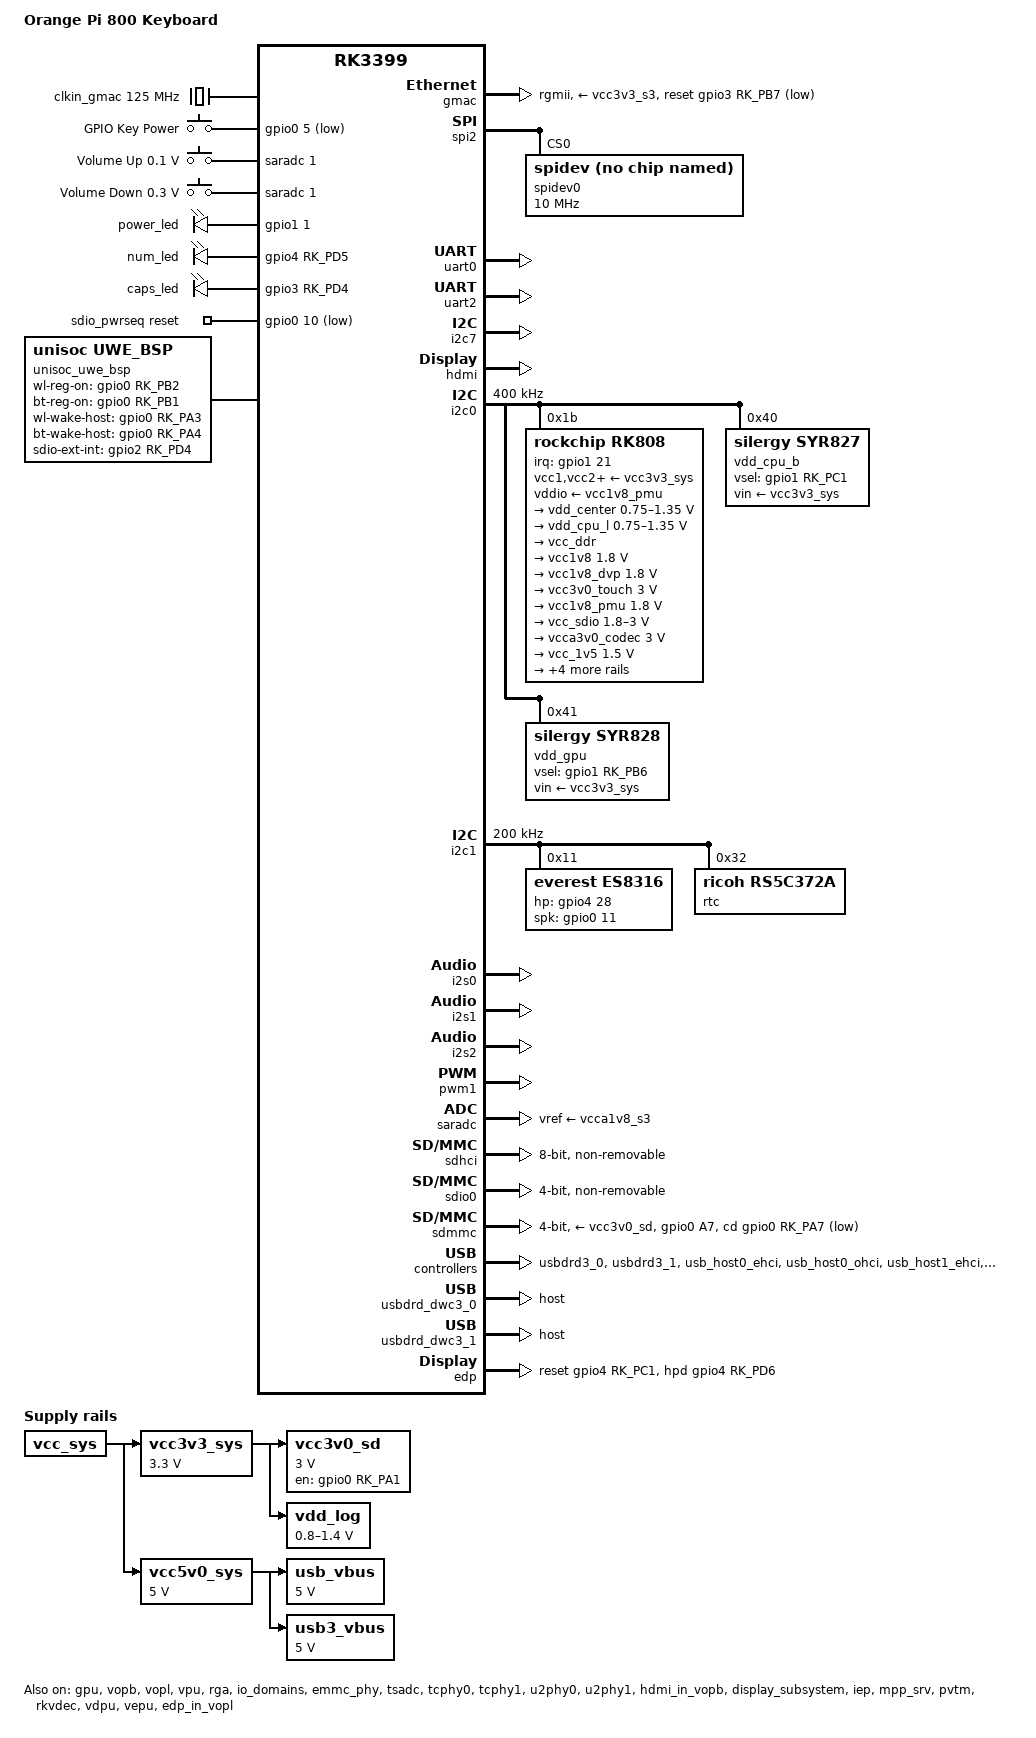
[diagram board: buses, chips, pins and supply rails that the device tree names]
/*
 * SPDX-License-Identifier: (GPL-2.0+ or MIT)
 * Copyright (c) 2017 Fuzhou Rockchip Electronics Co., Ltd.
 * Copyright (c) 2018 Akash Gajjar <Akash_Gajjar@mentor.com>
 * Copyright (c) 2020 Armbian (chwe17, piter75)
 *
 */

/dts-v1/;
#include <dt-bindings/input/linux-event-codes.h>
#include <dt-bindings/pwm/pwm.h>
#include <dt-bindings/usb/pd.h>
//#include <dt-bindings/leds/common.h>
#include "rk3399.dtsi"
#include "rk3399-opp.dtsi"

/ {
	model = "Orange Pi 800 Keyboard";
	compatible = "xunlong,orangepi-800", "rockchip,rk3399";

	chosen {
		stdout-path = "serial2:1500000n8";
	};

	aliases {
		spi2 = &spi2;
	};

	clkin_gmac: external-gmac-clock {
		compatible = "fixed-clock";
		clock-frequency = <125000000>;
		clock-output-names = "clkin_gmac";
		#clock-cells = <0>;
	};

	usb_vbus: usb-vbus {
		compatible = "regulator-fixed";
		regulator-name = "usb_vbus";
		regulator-always-on;
		regulator-boot-on;
		regulator-min-microvolt = <5000000>;
		regulator-max-microvolt = <5000000>;
		vin-supply = <&vcc5v0_sys>;

		regulator-state-mem {
			regulator-on-in-suspend;
		};
	};

	usb3_vbus: usb3-vbus {
		compatible = "regulator-fixed";
		regulator-name = "usb3_vbus";
		regulator-always-on;
		regulator-boot-on;
		regulator-min-microvolt = <5000000>;
		regulator-max-microvolt = <5000000>;
		vin-supply = <&vcc5v0_sys>;

		regulator-state-mem {
			regulator-on-in-suspend;
		};
	};

	vcc3v0_sd: vcc3v0-sd {
		compatible = "regulator-fixed";
		enable-active-high;
		gpio = <&gpio0 RK_PA1 GPIO_ACTIVE_HIGH>;
		pinctrl-names = "default";
		pinctrl-0 = <&sdmmc0_pwr_h>;
		regulator-name = "vcc3v0_sd";
		regulator-always-on;
		regulator-min-microvolt = <3000000>;
		regulator-max-microvolt = <3000000>;
		vin-supply = <&vcc3v3_sys>;

		regulator-state-mem {
			regulator-off-in-suspend;
		};
	};

	vcc3v3_sys: vcc3v3-sys {
		compatible = "regulator-fixed";
		regulator-name = "vcc3v3_sys";
		regulator-always-on;
		regulator-boot-on;
		regulator-min-microvolt = <3300000>;
		regulator-max-microvolt = <3300000>;
		vin-supply = <&vcc_sys>;

		regulator-state-mem {
			regulator-on-in-suspend;
		};
	};

	vcc5v0_sys: vcc5v0-sys {
		compatible = "regulator-fixed";
		regulator-name = "vcc5v0_sys";
		regulator-always-on;
		regulator-boot-on;
		regulator-min-microvolt = <5000000>;
		regulator-max-microvolt = <5000000>;
		vin-supply = <&vcc_sys>;

		regulator-state-mem {
			regulator-on-in-suspend;
		};
	};

	vcc_sys: vcc-sys {
		compatible = "regulator-fixed";
		regulator-name = "vcc_sys";
		regulator-always-on;
		regulator-boot-on;
	};

	vdd_log: vdd-log {
		compatible = "pwm-regulator";
		pwms = <&pwm2 0 25000 1>;
		regulator-name = "vdd_log";
		regulator-min-microvolt = <800000>;
		regulator-max-microvolt = <1400000>;
		regulator-always-on;
		regulator-boot-on;
		vin-supply = <&vcc3v3_sys>;
	};

	/* Audio components */
	es8316-sound {
		compatible = "simple-audio-card";
		//pinctrl-names = "default";
		//pinctrl-0 = <&hp_det_pin>;
		simple-audio-card,name = "rockchip,es8316-codec";
		simple-audio-card,format = "i2s";
		simple-audio-card,mclk-fs = <256>;

		simple-audio-card,widgets =
			"Microphone", "Mic Jack",
			"Headphone", "Headphones";
			//"Speaker", "Speaker";
		simple-audio-card,routing =
			"MIC1", "Mic Jack",
			"Headphones", "HPOL",
			"Headphones", "HPOR";
			//"Speaker Amplifier INL", "HPOL",
			//"Speaker Amplifier INR", "HPOR",
			//"Speaker", "Speaker Amplifier OUTL",
			//"Speaker", "Speaker Amplifier OUTR";

		//simple-audio-card,hp-det-gpio = <&gpio4 RK_PD4 GPIO_ACTIVE_HIGH>;
		//simple-audio-card,aux-devs = <&speaker_amp>;
		//simple-audio-card,pin-switches = "Speaker";

		simple-audio-card,cpu {
		        sound-dai = <&i2s0>;
		};

		simple-audio-card,codec {
		        sound-dai = <&es8316>;
		};
	};

	//speaker_amp: speaker-amplifier {
	//	compatible = "simple-audio-amplifier";
	//	enable-gpios = <&gpio0 RK_PB3 GPIO_ACTIVE_HIGH>;
	//	sound-name-prefix = "Speaker Amplifier";
	//	//VCC-supply = <&pa_5v>;
	//};

	dw_hdmi_audio: dw-hdmi-audio {
		status = "disable";
		compatible = "rockchip,dw-hdmi-audio";
		#sound-dai-cells = <0>;
	};

	hdmi_sound: hdmi-sound {
		status = "okay";
	};

        hdmi_dp_sound: hdmi-dp-sound {
                status = "okay";
                compatible = "rockchip,rk3399-hdmi-dp";
                rockchip,cpu = <&i2s2>;
                rockchip,codec = <&hdmi>, <&cdn_dp>;
        };

	spdif-sound {
		status = "disable";
		compatible = "simple-audio-card";
		simple-audio-card,name = "ROCKCHIP,SPDIF";
		simple-audio-card,cpu {
			sound-dai = <&spdif>;
		};
		simple-audio-card,codec {
			sound-dai = <&spdif_out>;
		};
	};

	spdif_out: spdif-out {
		status = "disable";
		compatible = "linux,spdif-dit";
		#sound-dai-cells = <0>;
	};

	gpio-keys {
		compatible = "gpio-keys";
		#address-cells = <1>;
		#size-cells = <0>;
		autorepeat;

		pinctrl-names = "default";
		pinctrl-0 = <&power_key>;

		button@0 {
			gpios = <&gpio0 5 GPIO_ACTIVE_LOW>;
			linux,code = <KEY_POWER>;
			label = "GPIO Key Power";
			linux,input-type = <1>;
			gpio-key,wakeup = <1>;
			debounce-interval = <100>;
		};
	};

	adc-keys {
		compatible = "adc-keys";
		io-channels = <&saradc 1>;
		io-channel-names = "buttons";
		poll-interval = <100>;
		keyup-threshold-microvolt = <1800000>;

		button-up {
			label = "Volume Up";
			linux,code = <KEY_VOLUMEUP>;
			press-threshold-microvolt = <100000>;
		};

		button-down {
			label = "Volume Down";
			linux,code = <KEY_VOLUMEDOWN>;
			press-threshold-microvolt = <300000>;
		};
	};

	leds: gpio-leds {
		compatible = "gpio-leds";
		pinctrl-names = "default";
		pinctrl-0 =<&leds_gpio>;

		power {
			gpios = <&gpio1 1 GPIO_ACTIVE_HIGH>;
			label = "power_led";
			linux,default-trigger = "none";
			linux,default-trigger-delay-ms = <0>;
			default-state = "on";
		};

		num {
			gpios = <&gpio4 RK_PD5 GPIO_ACTIVE_HIGH>;
			label = "num_led";
			linux,default-trigger = "kbd-numlock";
			linux,default-trigger-delay-ms = <0>;
			default-state = "off";
		};

		caps {
			gpios = <&gpio3 RK_PD4 GPIO_ACTIVE_HIGH>;
			label = "caps_led";
			linux,default-trigger = "kbd-capslock";
			linux,default-trigger-delay-ms = <0>;
			default-state = "off";
		};
	};

	sdio_pwrseq: sdio-pwrseq {
		compatible = "mmc-pwrseq-simple";
		clocks = <&rk808 1>;
		clock-names = "ext_clock";
		pinctrl-names = "default";
		pinctrl-0 = <&wifi_enable_h>;

		/*
		 * On the module itself this is one of these (depending
		 * on the actual card populated):
		 * - SDIO_RESET_L_WL_REG_ON
		 * - PDN (power down when low)
		 */
		reset-gpios = <&gpio0 10 GPIO_ACTIVE_LOW>; /* GPIO0_B2 */
	};

        sprd-wlan {
                compatible = "sprd,uwe5622-wifi";
                status = "okay";
        };

        unisoc_uwe_bsp: uwe-bsp {
                compatible = "unisoc,uwe_bsp";
                wl-reg-on = <&gpio0 RK_PB2 GPIO_ACTIVE_HIGH>;
                bt-reg-on = <&gpio0 RK_PB1 GPIO_ACTIVE_HIGH>;
                wl-wake-host-gpio = <&gpio0 RK_PA3 GPIO_ACTIVE_HIGH>;
                bt-wake-host-gpio = <&gpio0 RK_PA4 GPIO_ACTIVE_HIGH>;
                sdio-ext-int-gpio = <&gpio2 RK_PD4 GPIO_ACTIVE_HIGH>;
                //unisoc,btwf-file-name = "/lib/firmware/uwe5621ds/wcnmodem.bin";
		unisoc,btwf-file-name = "/lib/firmware/wcnmodem.bin";
                //adma-tx;
                //adma-rx;
                data-irq;
                blksz-512;
                keep-power-on;
                status = "okay";
        };

        sprd-mtty {
                compatible = "sprd,mtty";
                sprd,name = "ttyBT";
                status = "okay";
        };
};

&cpu_l0 {
	cpu-supply = <&vdd_cpu_l>;
};

&cpu_l1 {
	cpu-supply = <&vdd_cpu_l>;
};

&cpu_l2 {
	cpu-supply = <&vdd_cpu_l>;
};

&cpu_l3 {
	cpu-supply = <&vdd_cpu_l>;
};

&cpu_b0 {
	cpu-supply = <&vdd_cpu_b>;
};

&cpu_b1 {
	cpu-supply = <&vdd_cpu_b>;
};

&gpu {
	status = "okay";
	mali-supply = <&vdd_gpu>;
};

&gmac {
	assigned-clocks = <&cru SCLK_RMII_SRC>;
	assigned-clock-parents = <&clkin_gmac>;
	clock_in_out = "input";
	pinctrl-names = "default";
	pinctrl-0 = <&rgmii_pins>;
	phy-mode = "rgmii";
	phy-supply = <&vcc3v3_s3>;
	snps,reset-active-low;
	snps,reset-delays-us = <0 10000 50000>;
	snps,reset-gpio = <&gpio3 RK_PB7 GPIO_ACTIVE_LOW>;
	tx_delay = <0x28>;
	rx_delay = <0x11>;
	status = "okay";
};

&spi2 {
	status = "okay";
	pinctrl-names = "default", "sleep";
	pinctrl-1 = <&spi2_gpio>;

	spidev0: spidev@0 {
		compatible = "rockchip,spidev";
		reg = <0>;
		spi-max-frequency = <10000000>;
		status = "okay";
	};
};

&uart0 {
	pinctrl-names = "default";
	pinctrl-0 = <&uart0_xfer &uart0_cts &uart0_rts>;
	status = "okay";

	//bluetooth {
	//	compatible = "brcm,bcm4345c5";
	//	clocks = <&rk808 1>;
	//	clock-names = "lpo";
	//	device-wakeup-gpios = <&gpio2 RK_PD2 GPIO_ACTIVE_HIGH>;
	//	host-wakeup-gpios = <&gpio0 RK_PA4 GPIO_ACTIVE_HIGH>;
	//	shutdown-gpios = <&gpio0 RK_PB1 GPIO_ACTIVE_HIGH>;
	//	max-speed = <1500000>;
	//	pinctrl-names = "default";
	//	pinctrl-0 = <&bt_host_wake &bt_wake &bt_reset>;
	//};

};

&uart2 {
	status = "okay";
};

&uart4 {
	status = "disabled";
};

&vopb {
	status = "okay";
};

&vopb_mmu {
	status = "okay";
};

&vopl {
	status = "okay";
};

&vopl_mmu {
	status = "okay";
};

&vpu {
	status = "okay";
	/* 0 means ion, 1 means drm */
	//allocator = <0>;
};

&rga {
	status = "okay";
};

&cdn_dp {
	status = "disabled";
	phys = <&tcphy0_dp>;
};

&i2c7 {
	status = "okay";
};

&hdmi {
	/* remove the hdmi_i2c_xfer */
	pinctrl-0 = <&hdmi_cec>;
	#address-cells = <1>;
	#size-cells = <0>;
	#sound-dai-cells = <0>;
	status = "okay";
	ddc-i2c-bus = <&i2c7>;
	rockchip,defaultmode = <16>; /* CEA 1920x1080@60Hz */
};

&i2c0 {
	clock-frequency = <400000>;
	i2c-scl-rising-time-ns = <160>;
	i2c-scl-falling-time-ns = <30>;
	status = "okay";

	rk808: pmic@1b {
		compatible = "rockchip,rk808";
		reg = <0x1b>;
		interrupt-parent = <&gpio1>;
		interrupts = <21 IRQ_TYPE_LEVEL_LOW>;
		#clock-cells = <1>;
		clock-output-names = "xin32k", "rk808-clkout2";
		pinctrl-names = "default";
		pinctrl-0 = <&pmic_int_l>;
		rockchip,system-power-controller;
		wakeup-source;

		vcc1-supply = <&vcc3v3_sys>;
		vcc2-supply = <&vcc3v3_sys>;
		vcc3-supply = <&vcc3v3_sys>;
		vcc4-supply = <&vcc3v3_sys>;
		vcc6-supply = <&vcc3v3_sys>;
		vcc7-supply = <&vcc3v3_sys>;
		vcc8-supply = <&vcc3v3_sys>;
		vcc9-supply = <&vcc3v3_sys>;
		vcc10-supply = <&vcc3v3_sys>;
		vcc11-supply = <&vcc3v3_sys>;
		vcc12-supply = <&vcc3v3_sys>;
		vcc13-supply = <&vcc3v3_sys>;
		vcc14-supply = <&vcc3v3_sys>;
		vddio-supply = <&vcc1v8_pmu>;

		regulators {
			vdd_center: DCDC_REG1 {
				regulator-name = "vdd_center";
				regulator-always-on;
				regulator-boot-on;
				regulator-min-microvolt = <750000>;
				regulator-max-microvolt = <1350000>;
				regulator-ramp-delay = <6001>;
				regulator-state-mem {
					regulator-off-in-suspend;
				};
			};

			vdd_cpu_l: DCDC_REG2 {
				regulator-name = "vdd_cpu_l";
				regulator-always-on;
				regulator-boot-on;
				regulator-min-microvolt = <750000>;
				regulator-max-microvolt = <1350000>;
				regulator-ramp-delay = <6001>;
				regulator-state-mem {
					regulator-off-in-suspend;
				};
			};

			vcc_ddr: DCDC_REG3 {
				regulator-name = "vcc_ddr";
				regulator-always-on;
				regulator-boot-on;
				regulator-state-mem {
					regulator-on-in-suspend;
				};
			};

			vcc1v8: vcc1v8_s3: vcca1v8_s3: DCDC_REG4 {
				regulator-name = "vcc1v8";
				regulator-always-on;
				regulator-boot-on;
				regulator-min-microvolt = <1800000>;
				regulator-max-microvolt = <1800000>;
				regulator-state-mem {
					regulator-on-in-suspend;
					regulator-suspend-microvolt = <1800000>;
				};
			};

			vcc1v8_dvp: LDO_REG1 {
				regulator-name = "vcc1v8_dvp";
				regulator-always-on;
				regulator-boot-on;
				regulator-min-microvolt = <1800000>;
				regulator-max-microvolt = <1800000>;
				regulator-state-mem {
					regulator-off-in-suspend;
				};
			};

			vcc3v0_touch: LDO_REG2 {
				regulator-name = "vcc3v0_touch";
				regulator-always-on;
				regulator-boot-on;
				regulator-min-microvolt = <3000000>;
				regulator-max-microvolt = <3000000>;
				regulator-state-mem {
					regulator-off-in-suspend;
				};
			};

			vcc1v8_pmu: LDO_REG3 {
				regulator-name = "vcc1v8_pmu";
				regulator-always-on;
				regulator-boot-on;
				regulator-min-microvolt = <1800000>;
				regulator-max-microvolt = <1800000>;
				regulator-state-mem {
					regulator-on-in-suspend;
					regulator-suspend-microvolt = <1800000>;
				};
			};

			vcc_sdio: LDO_REG4 {
				regulator-name = "vcc_sdio";
				regulator-always-on;
				regulator-boot-on;
				regulator-min-microvolt = <1800000>;
				regulator-max-microvolt = <3000000>;
				regulator-init-microvolt = <3000000>;
				regulator-state-mem {
					regulator-on-in-suspend;
					regulator-suspend-microvolt = <3000000>;
				};
			};

			vcca3v0_codec: LDO_REG5 {
				regulator-name = "vcca3v0_codec";
				regulator-always-on;
				regulator-boot-on;
				regulator-min-microvolt = <3000000>;
				regulator-max-microvolt = <3000000>;
				regulator-state-mem {
					regulator-off-in-suspend;
				};
			};

			vcc_1v5: LDO_REG6 {
				regulator-name = "vcc_1v5";
				regulator-always-on;
				regulator-boot-on;
				regulator-min-microvolt = <1500000>;
				regulator-max-microvolt = <1500000>;
				regulator-state-mem {
					regulator-on-in-suspend;
					regulator-suspend-microvolt = <1500000>;
				};
			};

			vcca1v8_codec: LDO_REG7 {
				regulator-name = "vcca1v8_codec";
				regulator-always-on;
				regulator-boot-on;
				regulator-min-microvolt = <1800000>;
				regulator-max-microvolt = <1800000>;
				regulator-state-mem {
					regulator-off-in-suspend;
				};
			};

			vcc_3v0: LDO_REG8 {
				regulator-name = "vcc_3v0";
				regulator-always-on;
				regulator-boot-on;
				regulator-min-microvolt = <3000000>;
				regulator-max-microvolt = <3000000>;
				regulator-state-mem {
					regulator-on-in-suspend;
					regulator-suspend-microvolt = <3000000>;
				};
			};

			vcc3v3_s3: vcc_lan: SWITCH_REG1 {
				regulator-name = "vcc3v3_s3";
				regulator-always-on;
				regulator-boot-on;
				regulator-state-mem {
					regulator-off-in-suspend;
				};
			};

			vcc3v3_s0: SWITCH_REG2 {
				regulator-name = "vcc3v3_s0";
				regulator-always-on;
				regulator-boot-on;
				regulator-state-mem {
					regulator-off-in-suspend;
				};
			};
		};
	};

	vdd_cpu_b: regulator@40 {
		compatible = "silergy,syr827";
		reg = <0x40>;
		fcs,suspend-voltage-selector = <1>;
		pinctrl-names = "default";
		pinctrl-0 = <&vsel1_gpio>;
		vsel-gpios = <&gpio1 RK_PC1 GPIO_ACTIVE_HIGH>;
		regulator-compatible = "fan53555-reg";
		regulator-name = "vdd_cpu_b";
		regulator-min-microvolt = <712500>;
		regulator-max-microvolt = <1500000>;
		regulator-ramp-delay = <1000>;
		regulator-always-on;
		regulator-boot-on;
		vin-supply = <&vcc3v3_sys>;

		regulator-state-mem {
			regulator-off-in-suspend;
		};
	};

	vdd_gpu: regulator@41 {
		compatible = "silergy,syr828";
		reg = <0x41>;
		fcs,suspend-voltage-selector = <1>;
		pinctrl-names = "default";
		pinctrl-0 = <&vsel2_gpio>;
		vsel-gpios = <&gpio1 RK_PB6 GPIO_ACTIVE_HIGH>;
		regulator-compatible = "fan53555-reg";
		regulator-name = "vdd_gpu";
		regulator-min-microvolt = <712500>;
		regulator-max-microvolt = <1500000>;
		regulator-ramp-delay = <1000>;
		regulator-always-on;
		regulator-boot-on;
		vin-supply = <&vcc3v3_sys>;

		regulator-state-mem {
			regulator-off-in-suspend;
		};
	};
};

&i2c1 {
	status = "okay";
	i2c-scl-rising-time-ns = <300>;
	i2c-scl-falling-time-ns = <15>;
	clock-frequency = <200000>;

	es8316: codec@11 {
		compatible = "everest,es8316";
		reg = <0x11>;
		clocks = <&cru SCLK_I2S_8CH_OUT>;
		clock-names = "mclk";
		//pinctrl-names = "default";
		//pinctrl-0 = <&i2s_8ch_mclk>;
		hp-gpios = <&gpio4 28 GPIO_ACTIVE_HIGH>;
		spk-gpios = <&gpio0 11 GPIO_ACTIVE_HIGH>;
		#sound-dai-cells = <0>;
	};

	rtc@32 {
		compatible = "ricoh,rs5c372a";
		reg = <0x32>;
	};
};

&i2c2 {
	status = "disabled";
};

&i2c3 {
	status = "disabled";
};

&i2c4 {
	status = "disabled";
};

&spdif {
	status = "disable";
};

&i2s0 {
	pinctrl-names = "default";
        pinctrl-0 = <&i2s0_2ch_bus>;
	assigned-clocks = <&cru SCLK_I2SOUT_SRC>;
	assigned-clock-parents = <&cru SCLK_I2S0_8CH>;
        rockchip,capture-channels = <2>;
        rockchip,playback-channels = <2>;
	#sound-dai-cells = <0>;
        status = "okay";
};

&i2s1 {
	assigned-clocks = <&cru SCLK_I2SOUT_SRC>;
	assigned-clock-parents = <&cru SCLK_I2S1_8CH>;
	pinctrl-names = "default";
	pinctrl-0 = <&i2s1_2ch_bus>;
	rockchip,playback-channels = <2>;
	rockchip,capture-channels = <2>;
	#sound-dai-cells = <0>;
	status = "okay";
};

&i2s2 {
	#sound-dai-cells = <0>;
	status = "okay";
};

&io_domains {
	status = "okay";

	bt656-supply = <&vcc1v8_dvp>;		/* bt656_gpio2ab_ms */
	audio-supply = <&vcca1v8_codec>;	/* audio_gpio3d4a_ms */
	sdmmc-supply = <&vcc_sdio>;		/* sdmmc_gpio4b_ms */
	gpio1830-supply = <&vcc_3v0>;		/* gpio1833_gpio4cd_ms */
};

&pmu_io_domains {
	status = "okay";
	pmu1830-supply = <&vcc1v8_pmu>;
};

&pcie_phy {
	status = "disable";
	assigned-clocks = <&cru SCLK_PCIEPHY_REF>;
	assigned-clock-parents = <&cru SCLK_PCIEPHY_REF100M>;
	assigned-clock-rates = <100000000>;
};

&pcie0 {
	status = "disable";
	ep-gpios = <&gpio2 4 GPIO_ACTIVE_HIGH>;
	num-lanes = <4>;
	max-link-speed = <1>;
};

&pwm0 {
	status = "disable";
};

&pwm1 {
	status = "okay";
};

&pwm2 {
	status = "disable";
};

&saradc {
	status = "okay";
	vref-supply = <&vcca1v8_s3>; /* TBD */
};

&sdhci {
	assigned-clock-rates = <150000000>;
	bus-width = <8>;
	mmc-hs400-1_8v;
	supports-emmc;
	non-removable;
	keep-power-in-suspend;
	mmc-hs400-enhanced-strobe;
	status = "okay";
};

&emmc_phy {
	status = "okay";
};

&sdio0 {
	clock-frequency = <50000000>;
	clock-freq-min-max = <200000 50000000>;
	supports-sdio;
	bus-width = <4>;
	disable-wp;
	cap-sd-highspeed;
	cap-sdio-irq;
	keep-power-in-suspend;
	mmc-pwrseq = <&sdio_pwrseq>;
	non-removable;
	num-slots = <1>;
	pinctrl-names = "default";
	pinctrl-0 = <&sdio0_bus4 &sdio0_cmd &sdio0_clk>;
	sd-uhs-sdr104;
	status = "okay";
};

&sdmmc {
	bus-width = <4>;
	cap-sd-highspeed;
	cap-mmc-highspeed;
	cd-gpios = <&gpio0 RK_PA7 GPIO_ACTIVE_LOW>;
	disable-wp;
	max-frequency = <150000000>;
	pinctrl-names = "default";
	pinctrl-0 = <&sdmmc_bus4 &sdmmc_clk &sdmmc_cmd &sdmmc0_det_l>;
	vmmc-supply = <&vcc3v0_sd>;
	vqmmc-supply = <&vcc_sdio>;
	status = "okay";
};

&tsadc {
	/* tshut mode 0:CRU 1:GPIO */
	rockchip,hw-tshut-mode = <1>;
	/* tshut polarity 0:LOW 1:HIGH */
	rockchip,hw-tshut-polarity = <1>;
	status = "okay";
};

&tcphy0 {
	status = "okay";
};

&tcphy1 {
	status = "okay";
};

&u2phy0 {
	status = "okay";

	u2phy0_otg: otg-port {
		status = "okay";
	};

	u2phy0_host: host-port {
		phy-supply = <&usb3_vbus>;
		status = "okay";
	};
};

&u2phy1 {
	status = "okay";

	u2phy1_otg: otg-port {
		status = "okay";
	};

	u2phy1_host: host-port {
		phy-supply = <&usb_vbus>;
		status = "okay";
	};
};

&usbdrd3_0 {
	status = "okay";
};

&usbdrd3_1 {
	status = "okay";
};

&usbdrd_dwc3_0 {
        dr_mode = "host";
        //maximum-speed = "high-speed";
        //phys = <&u2phy0_otg>;
        //phy-names = "usb2-phy";
	status = "okay";
};

&usbdrd_dwc3_1 {
        dr_mode = "host";
        //maximum-speed = "high-speed";
        //phys = <&u2phy1_otg>;
        //phy-names = "usb2-phy";
        status = "okay";
};

&usb_host0_ehci {
	status = "okay";
};

&usb_host0_ohci {
	status = "okay";
};

&usb_host1_ehci {
	status = "okay";
};

&usb_host1_ohci {
	status = "okay";
};

&pinctrl {
	pcie {
		pcie_drv: pcie-drv {
			rockchip,pins =
				<1 RK_PA0 RK_FUNC_GPIO &pcfg_pull_none>;
		};
	};

	hdmi {
		/delete-node/ hdmi-i2c-xfer;
	};

	pmic {
		pmic_int_l: pmic-int-l {
			rockchip,pins = <1 RK_PC5 RK_FUNC_GPIO &pcfg_pull_up>;
		};

		vsel1_gpio: vsel1-gpio {
			rockchip,pins = <1 RK_PC1 RK_FUNC_GPIO &pcfg_pull_down>;
		};

		vsel2_gpio: vsel2-gpio {
			rockchip,pins = <1 RK_PB6 RK_FUNC_GPIO &pcfg_pull_down>;
		};
	};

	sdmmc {
		sdmmc0_det_l: sdmmc0-det-l {
			rockchip,pins = <0 RK_PA7 RK_FUNC_GPIO &pcfg_pull_up>;
		};

		sdmmc0_pwr_h: sdmmc0-pwr-h {
			rockchip,pins = <0 RK_PA1 RK_FUNC_GPIO &pcfg_pull_up>;
		};
	};

	usb-typec {
		vcc5v0_typec_en: vcc5v0_typec_en {
			rockchip,pins = <2 RK_PB4 RK_FUNC_GPIO &pcfg_pull_up>;
		};
	};

	fusb30x {
		fusb0_int: fusb0-int {
			rockchip,pins = <1 RK_PA2 RK_FUNC_GPIO &pcfg_pull_up>;
		};
	};

	sdio-pwrseq {
		wifi_enable_h: wifi-enable-h {
			rockchip,pins = <0 10 RK_FUNC_GPIO &pcfg_pull_none>;
		};
	};

	wireless-bluetooth {
		uart0_gpios: uart0-gpios {
			rockchip,pins = <2 19 RK_FUNC_GPIO &pcfg_pull_none>;
		};
	};

	rockchip-key {
		power_key: power-key {
			rockchip,pins = <0 5 RK_FUNC_GPIO &pcfg_pull_up>;
		};
	};

        es8316 {
                hp_det_pin: hp-det-pin {
			rockchip,pins = <4 28 RK_FUNC_GPIO &pcfg_pull_up>;
                };
        };

	gpio-leds {
		leds_gpio: leds-gpio {
			rockchip,pins = <0 11 RK_FUNC_GPIO &pcfg_pull_none>;
		};
	};

	cam_pins {
		cif_clkout_a: cif-clkout-a {
			rockchip,pins = <2 11 3 &pcfg_pull_none>;
		};

		cif_clkout_a_sleep: cif-clkout-a-sleep {
			rockchip,pins = <2 11 RK_FUNC_GPIO &pcfg_pull_none>;
		};

		cam0_default_pins: cam0-default-pins {
			rockchip,pins =
				<4 27 0 &pcfg_pull_down>,
				<2 11 3 &pcfg_pull_none>;
		};
		cam0_sleep_pins: cam0-sleep-pins {
   			rockchip,pins =
    			<4 27 3 &pcfg_pull_none>,
		    	<2 11 0 &pcfg_pull_none>;
 		 };

		cam1_default_pins: cam1-default-pins {
			rockchip,pins =
				<0 12 RK_FUNC_GPIO &pcfg_pull_down>,
				<0  8 RK_FUNC_GPIO &pcfg_pull_none>;
		};
	};

	spi2 {
		spi2_gpio: spi2-gpio {
			rockchip,pins =
				<2 1 RK_FUNC_GPIO &pcfg_output_low>,
				<2 2 RK_FUNC_GPIO &pcfg_output_low>,
				<2 3 RK_FUNC_GPIO &pcfg_output_low>,
				<2 4 RK_FUNC_GPIO &pcfg_output_low>;
		};
	};

	bt {
		bt_host_wake: bt-host-wake {
			rockchip,pins = <0 RK_PA4 RK_FUNC_GPIO &pcfg_pull_none>;
		};

		bt_reset: bt-reset {
			rockchip,pins = <0 RK_PB1 RK_FUNC_GPIO &pcfg_pull_none>;
		};

		bt_wake: bt-wake {
			rockchip,pins = <2 RK_PD2 RK_FUNC_GPIO &pcfg_pull_none>;
		};
	};

};

&edp {
        status = "okay";
        hpd-gpios = <&gpio4 RK_PD6 GPIO_ACTIVE_HIGH>;
        reset-gpios = <&gpio4 RK_PC1 GPIO_ACTIVE_HIGH>;
};

&hdmi_in_vopb {
	status = "okay";
};

&display_subsystem {
	status = "okay";

        ports = <&vopb_out>, <&vopl_out>;
        //logo-memory-region = <&drm_logo>;

        route {
                route_hdmi: route-hdmi {
                        status = "okay";
                        logo,uboot = "logo.bmp";
                        logo,kernel = "logo_kernel.bmp";
                        logo,mode = "center";
                        charge_logo,mode = "center";
                        connect = <&vopb_out_hdmi>;
                };

                route_dsi: route-dsi {
                        status = "disabled";
                        logo,uboot = "logo.bmp";
                        logo,kernel = "logo_kernel.bmp";
                        logo,mode = "center";
                        charge_logo,mode = "center";
                        connect = <&vopl_out_dsi>;
                };

                route_edp: route-edp {
                        status = "okay";
                        logo,uboot = "logo.bmp";
                        logo,kernel = "logo_kernel.bmp";
                        logo,mode = "center";
                        charge_logo,mode = "center";
                        connect = <&vopl_out_edp>;
                };
        };
};

&iep {
	status = "okay";
};

&iep_mmu {
	status = "okay";
};

&mpp_srv {
	status = "okay";
};

&pvtm {
	status = "okay";
};

&rkvdec {
	status = "okay";
	/* 0 means ion, 1 means drm */
	//allocator = <0>;
};

&vdec_mmu {
	status = "okay";
};

&vdpu {
	status = "okay";
};

&vepu {
	status = "okay";
};

&vpu_mmu {
	status = "okay";
};

&hdmi_in_vopl {
	status = "disable";
};

&dp_in_vopb {
	status = "disable";
};

&dp_in_vopl {
	status = "disable";
};

&edp_in_vopb {
	status = "disable";
};

&edp_in_vopl {
	status = "okay";
};
